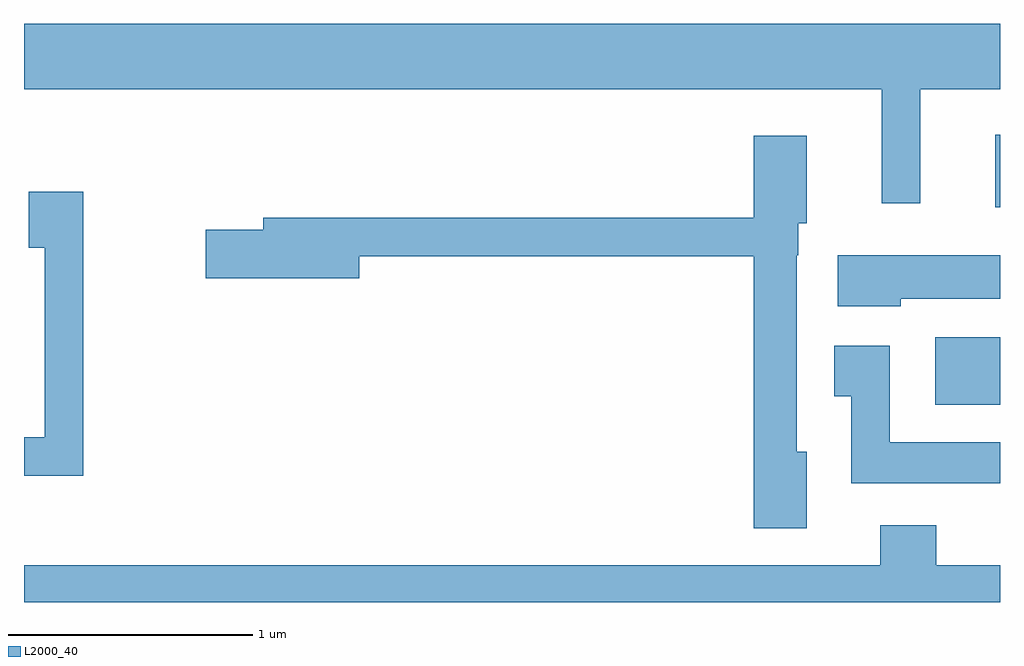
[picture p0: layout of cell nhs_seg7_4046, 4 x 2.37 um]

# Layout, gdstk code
import gdstk
lib = gdstk.Library(unit=1e-6, precision=1e-09)
def R(c, l, rs):  # rectangles x0, y0, x1, y1
    for r in rs: c.add(gdstk.rectangle(r[:2], r[2:], *l))
def P(c, l, *ps):  # polygons
    for p in ps: c.add(gdstk.Polygon(p, *l))
L2000_40 = (2000, 40)

nhs_seg7_4046 = lib.new_cell('nhs_seg7_4046')
R(nhs_seg7_4046, L2000_40, [(313.346,1673.061,313.611,1673.339), (313.591,1673.871,313.611,1674.168)])
P(nhs_seg7_4046, L2000_40, [(313.284,1674.356),(313.611,1674.356),(313.611,1674.624),(309.611,1674.624),(309.611,1674.356),(313.126,1674.356),(313.126,1673.888),(313.284,1673.888)],
  [(312.819,1672.869),(312.779,1672.869),(312.779,1673.675),(312.784,1673.675),(312.784,1673.806),(312.819,1673.806),(312.819,1674.164),(312.601,1674.164),(312.601,1673.829),(310.591,1673.829),(310.591,1673.779),(310.356,1673.779),(310.356,1673.581),(310.984,1673.581),(310.984,1673.671),(312.601,1673.671),(312.601,1672.556),(312.819,1672.556)],
  [(309.854,1673.934),(309.631,1673.934),(309.631,1673.706),(309.696,1673.706),(309.696,1672.929),(309.611,1672.929),(309.611,1672.771),(309.854,1672.771)],
  [(313.204,1673.496),(313.611,1673.496),(313.611,1673.674),(312.946,1673.674),(312.946,1673.466),(313.204,1673.466)],
  [(313.611,1672.909),(313.159,1672.909),(313.159,1673.304),(312.931,1673.304),(312.931,1673.096),(313.001,1673.096),(313.001,1672.741),(313.611,1672.741)],
  [(313.611,1672.404),(313.349,1672.404),(313.349,1672.569),(313.121,1672.569),(313.121,1672.404),(309.611,1672.404),(309.611,1672.252),(313.611,1672.252)])

lib.write_gds('nhs_seg7_4046.gds')
